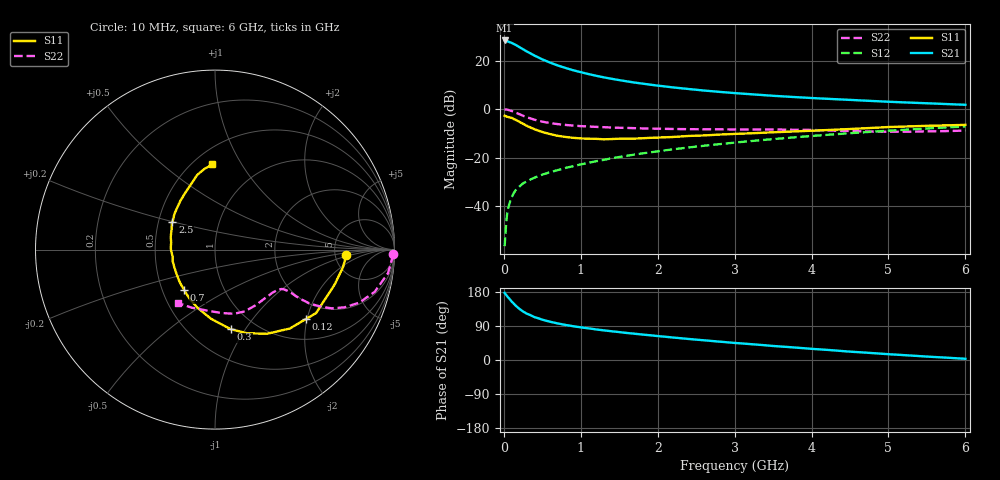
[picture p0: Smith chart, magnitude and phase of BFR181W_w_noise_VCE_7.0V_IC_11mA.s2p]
! Infineon Technologies  Discrete & RF Semiconductors
! BFR181W
! VCE =  7.0 V,  IC =  11 mA
! Common Emitter S-Parameters:  Jan 2017
# GHz  S  MA  R  50
!  f  S11  S21  S12  S22
! GHz  MAG  ANG  MAG  ANG  MAG  ANG  MAG  ANG
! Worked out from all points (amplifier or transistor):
!   77 points, 10 MHz to 6 GHz, reference 50 ohm
!   highest |S21| = 28.3 dB at 10 MHz (marker M1)
!   |S21| within 3 dB of that: start of sweep to 216.4 MHz
!   unconditionally stable (mu >= 1): 988.3 MHz to 2.972 GHz
!   at 130 MHz: K = 0.29, MSG = 30.7 dB, |S12| = -34.6 dB
!   at 2.2 GHz: K = 1.05, MAG = 11.4 dB, |S12| = -16.5 dB
!   at 6 GHz: K = 0.85, MSG = 4.5 dB, |S12| = -7.1 dB
!   lowest NFmin = 1.29 dB at 450 MHz
!   S11 on the Smith chart (normalised r, x): 10 MHz: 6.35, -0.84; 120 MHz: 1.51, -1.96; 300 MHz: 0.77, -0.86; 700 MHz: 0.65, -0.31; 2.5 GHz: 0.59, +0.20; 6 GHz: 0.62, +0.76
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0.01  0.7319 -2.4  26.07 177.3  0.0015 87.0  0.9919 -1.5
0.02  0.7201 -7.8  25.82 174.0  0.0025 93.3  0.9885 -2.9
0.05  0.6946 -16.2  24.98 166.7  0.0082 81.6  0.9727 -7.8
0.1  0.665 -32.1  23.34 154.6  0.015 74.2  0.9204 -14.8
0.12  0.6366 -37.5  22.44 150.7  0.0174 72.5  0.8938 -16.9
0.15  0.606 -46.5  21.3 144.2  0.0211 70.6  0.8563 -20.2
0.2  0.5513 -58.3  19.12 135.2  0.0252 67.3  0.7903 -24.0
0.25  0.4991 -69.0  17.18 128.0  0.0296 64.8  0.7316 -26.6
0.3  0.4527 -78.7  15.41 122.1  0.0326 62.7  0.6801 -28.1
0.4  0.3857 -93.4  12.67 113.0  0.0388 62.0  0.6047 -29.7
0.5  0.3386 -106.7  10.62 106.4  0.0448 62.1  0.5527 -30.0
0.6  0.3066 -117.9  9.13 101.0  0.0501 62.9  0.5173 -29.9
0.7  0.2826 -127.6  7.965 96.5  0.0554 64.3  0.4923 -29.6
0.9  0.2566 -145.0  6.351 89.2  0.0668 65.7  0.4595 -29.7
1.1  0.246 -158.6  5.292 83.5  0.0784 67.1  0.4393 -30.1
1.5  0.2459 179.8  3.968 73.7  0.1034 67.9  0.4136 -33.0
2.1  0.2632 157.6  2.931 61.3  0.142 67.1  0.393 -40.7
2.5  0.2837 146.6  2.513 53.8  0.1691 65.8  0.3858 -47.5
3.1  0.313 132.7  2.09 43.6  0.2116 62.9  0.3817 -57.8
4.1  0.3654 115.4  1.667 28.1  0.2876 56.3  0.3685 -75.5
5.1  0.4328 102.1  1.401 14.1  0.3674 48.2  0.342 -100.3
6  0.4746 91.8  1.231 3.2  0.4412 39.8  0.3628 -125.1
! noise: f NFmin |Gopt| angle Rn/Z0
0.45  1.29  0.12  17  0.21
0.9  1.33  0.12  31  0.21
1.9  1.76  0.04  -171  0.2
2.4  1.95  0.05  -122  0.25
